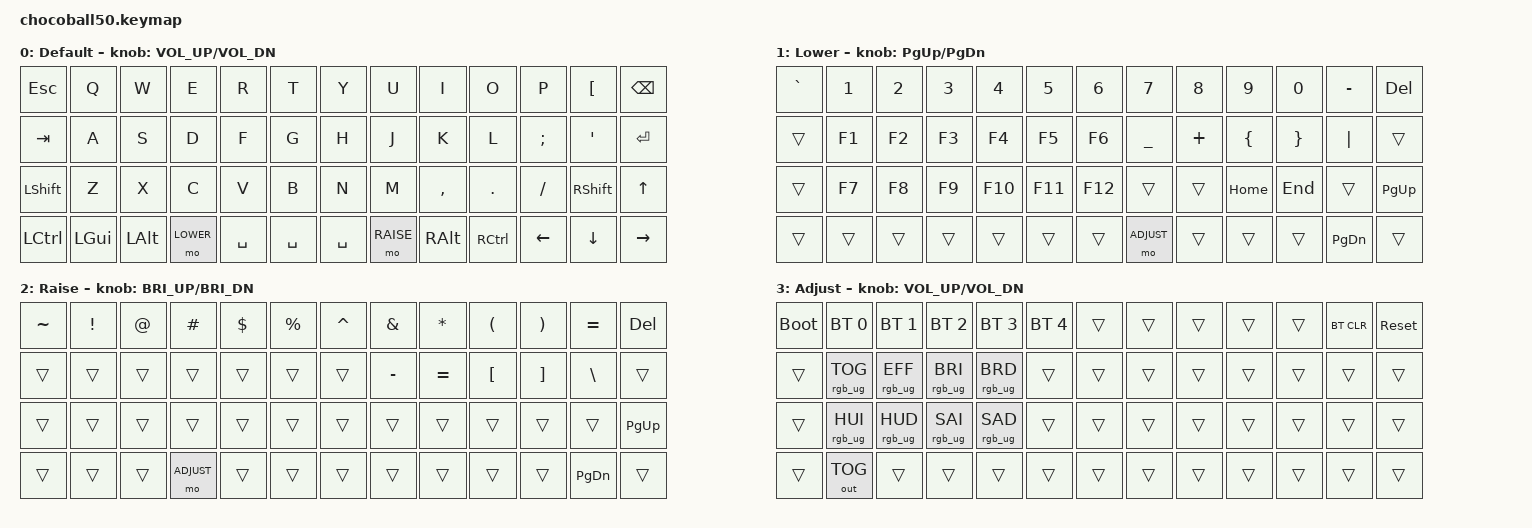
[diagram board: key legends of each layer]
/*
 * Copyright (c) 2024 The ZMK Contributors
 * SPDX-License-Identifier: MIT
 */

#include <behaviors.dtsi>
#include <dt-bindings/zmk/keys.h>
#include <dt-bindings/zmk/bt.h>
#include <dt-bindings/zmk/rgb.h>
#include <dt-bindings/zmk/outputs.h>

#define DEFAULT 0
#define LOWER   1
#define RAISE   2
#define ADJUST  3

/ {
    keymap {
        compatible = "zmk,keymap";

        default_layer {
            display-name = "Default";
            bindings = <
                &kp ESC   &kp Q     &kp W     &kp E     &kp R     &kp T     &kp Y     &kp U     &kp I     &kp O     &kp P     &kp LBKT  &kp BSPC
                &kp TAB   &kp A     &kp S     &kp D     &kp F     &kp G     &kp H     &kp J     &kp K     &kp L     &kp SEMI  &kp SQT   &kp RET
                &kp LSHFT &kp Z     &kp X     &kp C     &kp V     &kp B     &kp N     &kp M     &kp COMMA &kp DOT   &kp FSLH  &kp RSHFT &kp UP
                &kp LCTRL &kp LGUI  &kp LALT  &mo LOWER &kp SPACE &kp SPACE &kp SPACE &mo RAISE &kp RALT  &kp RCTRL &kp LEFT  &kp DOWN  &kp RIGHT
            >;

            
            sensor-bindings = <&inc_dec_kp C_VOL_UP C_VOL_DN>;
        };

        lower_layer {
            display-name = "Lower";
            bindings = <
                &kp GRAVE &kp N1    &kp N2    &kp N3    &kp N4    &kp N5    &kp N6    &kp N7    &kp N8    &kp N9    &kp N0    &kp MINUS &kp DEL
                &trans    &kp F1    &kp F2    &kp F3    &kp F4    &kp F5    &kp F6    &kp UNDER &kp PLUS  &kp LBRC  &kp RBRC  &kp PIPE  &trans
                &trans    &kp F7    &kp F8    &kp F9    &kp F10   &kp F11   &kp F12   &trans    &trans    &kp HOME  &kp END   &trans    &kp PG_UP
                &trans    &trans    &trans    &trans    &trans    &trans    &trans    &mo ADJUST &trans   &trans    &trans    &kp PG_DN &trans
            >;

            
            sensor-bindings = <&inc_dec_kp PG_UP PG_DN>;
        };

        raise_layer {
            display-name = "Raise";
            bindings = <
                &kp TILDE &kp EXCL  &kp AT    &kp HASH  &kp DLLR  &kp PRCNT &kp CARET &kp AMPS  &kp STAR  &kp LPAR  &kp RPAR  &kp EQUAL &kp DEL
                &trans    &trans    &trans    &trans    &trans    &trans    &trans    &kp MINUS &kp EQUAL &kp LBKT  &kp RBKT  &kp BSLH  &trans
                &trans    &trans    &trans    &trans    &trans    &trans    &trans    &trans    &trans    &trans    &trans    &trans    &kp PG_UP
                &trans    &trans    &trans    &mo ADJUST &trans   &trans    &trans    &trans    &trans    &trans    &trans    &kp PG_DN &trans
            >;

            
            sensor-bindings = <&inc_dec_kp C_BRI_UP C_BRI_DN>;
        };

        adjust_layer {
            display-name = "Adjust";
            bindings = <
                &bootloader &bt BT_SEL 0 &bt BT_SEL 1 &bt BT_SEL 2 &bt BT_SEL 3 &bt BT_SEL 4 &trans &trans &trans &trans &trans &bt BT_CLR &sys_reset
                &trans      &rgb_ug RGB_TOG &rgb_ug RGB_EFF &rgb_ug RGB_BRI &rgb_ug RGB_BRD &trans &trans &trans &trans &trans &trans &trans &trans
                &trans      &rgb_ug RGB_HUI &rgb_ug RGB_HUD &rgb_ug RGB_SAI &rgb_ug RGB_SAD &trans &trans &trans &trans &trans &trans &trans &trans
                &trans      &out OUT_TOG    &trans          &trans          &trans          &trans &trans &trans &trans &trans &trans &trans &trans
            >;

            
            sensor-bindings = <&inc_dec_kp C_VOL_UP C_VOL_DN>;
        };
    };
};
